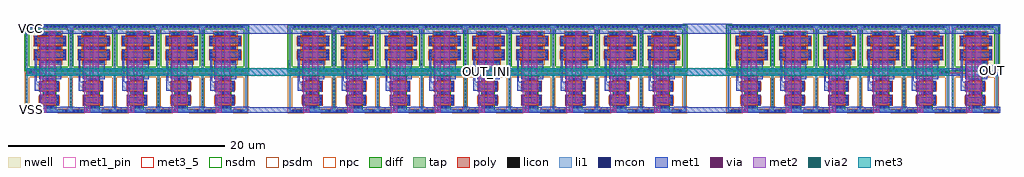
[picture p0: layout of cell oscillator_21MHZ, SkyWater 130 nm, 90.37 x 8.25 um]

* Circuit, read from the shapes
.subckt oscillator_21MHZ OUT OUT_INI VCC VSS
XM1 n1 VCC VSS VSS sky130_fd_pr__nfet_01v8 w=1 l=1
XM2 inverter_1/IN OUT_INI n1 VSS sky130_fd_pr__nfet_01v8 w=1 l=1
XM3 n2 VCC VSS VSS sky130_fd_pr__nfet_01v8 w=1 l=1
XM4 inverter_2/IN inverter_1/IN n2 VSS sky130_fd_pr__nfet_01v8 w=1 l=1
XM5 n3 VCC VSS VSS sky130_fd_pr__nfet_01v8 w=1 l=1
XM6 inverter_3/IN inverter_2/IN n3 VSS sky130_fd_pr__nfet_01v8 w=1 l=1
XM7 n4 VCC VSS VSS sky130_fd_pr__nfet_01v8 w=1 l=1
XM8 inverter_4/IN inverter_3/IN n4 VSS sky130_fd_pr__nfet_01v8 w=1 l=1
XM9 n5 VCC VSS VSS sky130_fd_pr__nfet_01v8 w=1 l=1
XM10 inverter_5/IN inverter_4/IN n5 VSS sky130_fd_pr__nfet_01v8 w=1 l=1
XM11 n6 VCC VSS VSS sky130_fd_pr__nfet_01v8 w=1 l=1
XM12 inverter_6/IN inverter_5/IN n6 VSS sky130_fd_pr__nfet_01v8 w=1 l=1
XM13 n7 VCC VSS VSS sky130_fd_pr__nfet_01v8 w=1 l=1
XM14 inverter_7/IN inverter_6/IN n7 VSS sky130_fd_pr__nfet_01v8 w=1 l=1
XM15 n8 VCC VSS VSS sky130_fd_pr__nfet_01v8 w=1 l=1
XM16 inverter_8/IN inverter_7/IN n8 VSS sky130_fd_pr__nfet_01v8 w=1 l=1
XM17 n9 VCC VSS VSS sky130_fd_pr__nfet_01v8 w=1 l=1
XM18 inverter_9/IN inverter_8/IN n9 VSS sky130_fd_pr__nfet_01v8 w=1 l=1
XM19 n10 VCC VSS VSS sky130_fd_pr__nfet_01v8 w=1 l=1
XM20 inverter_10/IN inverter_9/IN n10 VSS sky130_fd_pr__nfet_01v8 w=1 l=1
XM21 n11 VCC VSS VSS sky130_fd_pr__nfet_01v8 w=1 l=1
XM22 inverter_11/IN inverter_10/IN n11 VSS sky130_fd_pr__nfet_01v8 w=1 l=1
XM23 n12 VCC VSS VSS sky130_fd_pr__nfet_01v8 w=1 l=1
XM24 inverter_12/IN inverter_11/IN n12 VSS sky130_fd_pr__nfet_01v8 w=1 l=1
XM25 n13 VCC VSS VSS sky130_fd_pr__nfet_01v8 w=1 l=1
XM26 inverter_13/IN inverter_12/IN n13 VSS sky130_fd_pr__nfet_01v8 w=1 l=1
XM27 n14 VCC VSS VSS sky130_fd_pr__nfet_01v8 w=1 l=1
XM28 inverter_14/IN inverter_13/IN n14 VSS sky130_fd_pr__nfet_01v8 w=1 l=1
XM29 n15 VCC VSS VSS sky130_fd_pr__nfet_01v8 w=1 l=1
XM30 inverter_15/IN inverter_14/IN n15 VSS sky130_fd_pr__nfet_01v8 w=1 l=1
XM31 n16 VCC VSS VSS sky130_fd_pr__nfet_01v8 w=1 l=1
XM32 inverter_16/IN inverter_15/IN n16 VSS sky130_fd_pr__nfet_01v8 w=1 l=1
XM33 n17 VCC VSS VSS sky130_fd_pr__nfet_01v8 w=1 l=1
XM34 inverter_17/IN inverter_16/IN n17 VSS sky130_fd_pr__nfet_01v8 w=1 l=1
XM35 n18 VCC VSS VSS sky130_fd_pr__nfet_01v8 w=1 l=1
XM36 inverter_18/IN inverter_17/IN n18 VSS sky130_fd_pr__nfet_01v8 w=1 l=1
XM37 n19 VCC VSS VSS sky130_fd_pr__nfet_01v8 w=1 l=1
XM38 OUT_INI inverter_18/IN n19 VSS sky130_fd_pr__nfet_01v8 w=1 l=1
XM39 n20 VCC VSS VSS sky130_fd_pr__nfet_01v8 w=1 l=1
XM40 OUT OUT_INI n20 VSS sky130_fd_pr__nfet_01v8 w=1 l=1
XM41 n21 OUT_INI inverter_1/IN VCC sky130_fd_pr__pfet_01v8 w=2 l=1
XM42 VCC VSS n21 VCC sky130_fd_pr__pfet_01v8 w=2 l=1
XM43 n22 inverter_1/IN inverter_2/IN VCC sky130_fd_pr__pfet_01v8 w=2 l=1
XM44 VCC VSS n22 VCC sky130_fd_pr__pfet_01v8 w=2 l=1
XM45 n23 inverter_2/IN inverter_3/IN VCC sky130_fd_pr__pfet_01v8 w=2 l=1
XM46 VCC VSS n23 VCC sky130_fd_pr__pfet_01v8 w=2 l=1
XM47 n24 inverter_3/IN inverter_4/IN VCC sky130_fd_pr__pfet_01v8 w=2 l=1
XM48 VCC VSS n24 VCC sky130_fd_pr__pfet_01v8 w=2 l=1
XM49 n25 inverter_4/IN inverter_5/IN VCC sky130_fd_pr__pfet_01v8 w=2 l=1
XM50 VCC VSS n25 VCC sky130_fd_pr__pfet_01v8 w=2 l=1
XM51 n26 inverter_5/IN inverter_6/IN VCC sky130_fd_pr__pfet_01v8 w=2 l=1
XM52 VCC VSS n26 VCC sky130_fd_pr__pfet_01v8 w=2 l=1
XM53 n27 inverter_6/IN inverter_7/IN VCC sky130_fd_pr__pfet_01v8 w=2 l=1
XM54 VCC VSS n27 VCC sky130_fd_pr__pfet_01v8 w=2 l=1
XM55 n28 inverter_7/IN inverter_8/IN VCC sky130_fd_pr__pfet_01v8 w=2 l=1
XM56 VCC VSS n28 VCC sky130_fd_pr__pfet_01v8 w=2 l=1
XM57 n29 inverter_8/IN inverter_9/IN VCC sky130_fd_pr__pfet_01v8 w=2 l=1
XM58 VCC VSS n29 VCC sky130_fd_pr__pfet_01v8 w=2 l=1
XM59 n30 inverter_9/IN inverter_10/IN VCC sky130_fd_pr__pfet_01v8 w=2 l=1
XM60 VCC VSS n30 VCC sky130_fd_pr__pfet_01v8 w=2 l=1
XM61 n31 inverter_10/IN inverter_11/IN VCC sky130_fd_pr__pfet_01v8 w=2 l=1
XM62 VCC VSS n31 VCC sky130_fd_pr__pfet_01v8 w=2 l=1
XM63 n32 inverter_11/IN inverter_12/IN VCC sky130_fd_pr__pfet_01v8 w=2 l=1
XM64 VCC VSS n32 VCC sky130_fd_pr__pfet_01v8 w=2 l=1
XM65 n33 inverter_12/IN inverter_13/IN VCC sky130_fd_pr__pfet_01v8 w=2 l=1
XM66 VCC VSS n33 VCC sky130_fd_pr__pfet_01v8 w=2 l=1
XM67 n34 inverter_13/IN inverter_14/IN VCC sky130_fd_pr__pfet_01v8 w=2 l=1
XM68 VCC VSS n34 VCC sky130_fd_pr__pfet_01v8 w=2 l=1
XM69 n35 inverter_14/IN inverter_15/IN VCC sky130_fd_pr__pfet_01v8 w=2 l=1
XM70 VCC VSS n35 VCC sky130_fd_pr__pfet_01v8 w=2 l=1
XM71 n36 inverter_15/IN inverter_16/IN VCC sky130_fd_pr__pfet_01v8 w=2 l=1
XM72 VCC VSS n36 VCC sky130_fd_pr__pfet_01v8 w=2 l=1
XM73 n37 inverter_16/IN inverter_17/IN VCC sky130_fd_pr__pfet_01v8 w=2 l=1
XM74 VCC VSS n37 VCC sky130_fd_pr__pfet_01v8 w=2 l=1
XM75 n38 inverter_17/IN inverter_18/IN VCC sky130_fd_pr__pfet_01v8 w=2 l=1
XM76 VCC VSS n38 VCC sky130_fd_pr__pfet_01v8 w=2 l=1
XM77 n39 inverter_18/IN OUT_INI VCC sky130_fd_pr__pfet_01v8 w=2 l=1
XM78 VCC VSS n39 VCC sky130_fd_pr__pfet_01v8 w=2 l=1
XM79 n40 OUT_INI OUT VCC sky130_fd_pr__pfet_01v8 w=2 l=1
XM80 VCC VSS n40 VCC sky130_fd_pr__pfet_01v8 w=2 l=1
.ends

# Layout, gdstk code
from math import pi, radians
import gdstk
lib = gdstk.Library(unit=1e-6, precision=1e-09)
def R(c, l, rs):  # rectangles x0, y0, x1, y1
    for r in rs: c.add(gdstk.rectangle(r[:2], r[2:], *l))
def A(c, l, x, y, w, h, nx, ny, dx, dy):  # array of equal rectangles
    R(c, l, [(x+i*dx, y+j*dy, x+i*dx+w, y+j*dy+h) for i in range(nx) for j in range(ny)])
nwell = (64, 20)
diff = (65, 20)
tap = (65, 44)
poly = (66, 20)
licon = (66, 44)
li1 = (67, 20)
mcon = (67, 44)
met1_pin = (68, 16)
met1 = (68, 20)
via = (68, 44)
met2 = (69, 20)
via2 = (69, 44)
met3_5 = (70, 5)
met3 = (70, 20)
nsdm = (93, 44)
psdm = (94, 20)
npc = (95, 20)

sky130_fd_pr__pfet_01v8_ = lib.new_cell('sky130_fd_pr__pfet_01v8_BPT9FA')
R(sky130_fd_pr__pfet_01v8_, nwell, [(-0.97,-1.5,0.97,1.5)])
R(sky130_fd_pr__pfet_01v8_, diff, [(-0.79,-1,0.79,1)])
R(sky130_fd_pr__pfet_01v8_, poly, [(-0.5,-1.485,0.5,1.485)])
A(sky130_fd_pr__pfet_01v8_, licon, -0.73, -0.935, 0.17, 0.17, 1, 6, 0, 0.34)
A(sky130_fd_pr__pfet_01v8_, licon, 0.56, -0.935, 0.17, 0.17, 1, 6, 0, 0.34)
R(sky130_fd_pr__pfet_01v8_, licon, [(-0.255,-1.405,-0.085,-1.235), (0.085,-1.405,0.255,-1.235), (-0.255,1.235,-0.085,1.405), (0.085,1.235,0.255,1.405)])
R(sky130_fd_pr__pfet_01v8_, li1, [(-0.5,-1.405,0.5,-1.235), (-0.73,-1.02,-0.56,1.02), (0.56,-1.02,0.73,1.02), (-0.5,1.235,0.5,1.405)])
A(sky130_fd_pr__pfet_01v8_, mcon, -0.73, -0.805, 0.17, 0.17, 1, 5, 0, 0.36)
A(sky130_fd_pr__pfet_01v8_, mcon, 0.56, -0.805, 0.17, 0.17, 1, 5, 0, 0.36)
R(sky130_fd_pr__pfet_01v8_, mcon, [(-0.265,-1.405,-0.095,-1.235), (0.095,-1.405,0.265,-1.235), (-0.265,1.235,-0.095,1.405), (0.095,1.235,0.265,1.405)])
R(sky130_fd_pr__pfet_01v8_, met1, [(-0.48,-1.435,0.48,-1.205), (-0.76,-1,-0.53,1), (0.53,-1,0.76,1), (-0.48,1.205,0.48,1.435)])
R(sky130_fd_pr__pfet_01v8_, psdm, [(-0.915,-1.125,0.915,1.125)])
R(sky130_fd_pr__pfet_01v8_, npc, [(-0.355,-1.505,0.355,-1.135), (-0.355,1.135,0.355,1.505)])

sky130_fd_pr__nfet_01v8_ = lib.new_cell('sky130_fd_pr__nfet_01v8_EEHCG5')
R(sky130_fd_pr__nfet_01v8_, diff, [(-0.79,-0.5,0.79,0.5)])
R(sky130_fd_pr__nfet_01v8_, poly, [(-0.5,-0.94,0.5,0.94)])
A(sky130_fd_pr__nfet_01v8_, licon, -0.73, -0.425, 0.17, 0.17, 1, 3, 0, 0.34)
A(sky130_fd_pr__nfet_01v8_, licon, 0.56, -0.425, 0.17, 0.17, 1, 3, 0, 0.34)
R(sky130_fd_pr__nfet_01v8_, licon, [(-0.255,-0.86,-0.085,-0.69), (0.085,-0.86,0.255,-0.69), (-0.255,0.69,-0.085,0.86), (0.085,0.69,0.255,0.86)])
R(sky130_fd_pr__nfet_01v8_, li1, [(-0.5,-0.86,0.5,-0.69), (-0.73,-0.52,-0.56,0.52), (0.56,-0.52,0.73,0.52), (-0.5,0.69,0.5,0.86)])
R(sky130_fd_pr__nfet_01v8_, mcon, [(-0.265,-0.86,-0.095,-0.69), (0.095,-0.86,0.265,-0.69), (-0.73,-0.265,-0.56,-0.095), (0.56,-0.265,0.73,-0.095), (-0.73,0.095,-0.56,0.265), (0.56,0.095,0.73,0.265), (-0.265,0.69,-0.095,0.86), (0.095,0.69,0.265,0.86)])
R(sky130_fd_pr__nfet_01v8_, met1, [(-0.48,-0.89,0.48,-0.66), (-0.76,-0.5,-0.53,0.5), (0.53,-0.5,0.76,0.5), (-0.48,0.66,0.48,0.89)])
R(sky130_fd_pr__nfet_01v8_, nsdm, [(-0.915,-0.625,0.915,0.625)])
R(sky130_fd_pr__nfet_01v8_, npc, [(-0.355,-0.96,0.355,-0.59), (-0.355,0.59,0.355,0.96)])

inverter = lib.new_cell('inverter')
R(inverter, nwell, [(4.51,12.12,9.14,16.57)])
R(inverter, tap, [(4.69,8.45,5.96,8.62), (7.77,8.45,8.92,8.62), (4.69,8.62,4.86,11.78), (8.75,8.62,8.92,11.78), (4.69,11.78,6.08,11.95), (7.63,11.78,8.92,11.95), (4.69,12.3,8.96,12.47), (4.69,12.47,4.86,16.22), (8.75,12.47,8.96,16.22), (4.69,16.22,8.96,16.39)])
A(inverter, licon, 4.69, 8.96, 0.17, 0.17, 1, 8, 0, 0.34)
A(inverter, licon, 5.04, 12.3, 0.17, 0.17, 11, 1, 0.34, 0)
A(inverter, licon, 4.69, 12.76, 0.17, 0.17, 1, 10, 0, 0.34)
A(inverter, licon, 5.12, 16.22, 0.17, 0.17, 10, 1, 0.34, 0)
R(inverter, licon, [(5.13,8.45,5.3,8.62), (5.47,8.45,5.64,8.62), (8.055,8.45,8.225,8.62), (8.395,8.45,8.565,8.62), (5.265,11.78,5.435,11.95), (8.195,11.78,8.365,11.95)])
R(inverter, li1, [(4.86,8.44,5.97,8.45), (4.69,8.45,8.96,8.62), (4.69,8.62,4.87,11.78), (8.75,8.62,8.96,11.78), (4.69,11.78,8.96,11.95), (4.69,12.3,8.96,12.41), (4.68,12.41,8.96,12.47), (4.68,12.47,4.86,13.21), (8.75,12.47,8.96,16.22), (4.69,13.21,4.86,16.22), (4.69,16.22,8.96,16.4)])
A(inverter, mcon, 4.97, 8.445, 0.17, 0.17, 3, 1, 0.36, 0)
A(inverter, mcon, 5.12, 16.225, 0.17, 0.17, 10, 1, 0.36, 0)
R(inverter, mcon, [(8.315,8.45,8.485,8.62)])
R(inverter, met1_pin, [(4.51,8.34,4.86,8.88), (4.73,11.78,5.58,12.47), (5.9,11.78,8.79,12.47), (4.51,15.67,4.99,16.57)])
R(inverter, met1, [(4.51,8.34,9.14,8.88), (7.88,8.88,9.14,8.89), (8,8.89,9.14,8.9), (5.98,9.26,7.71,9.78), (5.51,10.39,6.16,10.53), (5.51,10.53,7.72,11.05), (5.51,11.05,6.16,11.23), (5.51,11.23,5.68,11.78), (5.9,11.44,7.94,11.78), (4.73,11.78,5.68,12.47), (5.9,11.78,8.97,12.47), (5.51,12.47,5.68,13.46), (5.9,12.47,7.94,13.16), (8.35,12.47,8.97,12.48), (5.51,13.46,8.32,13.98), (5.51,13.98,5.68,14.13), (5.66,14.79,8.32,15.31), (6.89,15.59,7.34,15.67), (4.51,15.67,8.75,16.09), (8.93,15.67,9.14,16.09), (4.51,16.09,9.14,16.57)])
R(inverter, via, [(6.21,8.54,6.36,8.69), (7.035,9.445,7.185,9.595), (6.225,14.975,6.375,15.125), (7.04,15.65,7.19,15.8)])
R(inverter, met2, [(6.01,8.36,6.58,15.35), (6.82,9.2,7.39,15.9)])
R(inverter, nsdm, [(4.565,12.175,9.085,12.595), (4.565,12.595,4.985,16.095), (8.625,12.595,9.085,16.095), (4.565,16.095,9.085,16.515)])
R(inverter, psdm, [(4.565,8.325,6.085,8.745), (7.645,8.325,9.045,8.745), (4.565,8.745,4.985,11.655), (8.625,8.745,9.045,11.655), (4.565,11.655,6.205,12.075), (7.505,11.655,9.045,12.075)])
inverter.add(gdstk.Reference(sky130_fd_pr__pfet_01v8_, (6.92,15), rotation=pi/2))
inverter.add(gdstk.Reference(sky130_fd_pr__pfet_01v8_, (6.92,13.71), rotation=pi/2))
inverter.add(gdstk.Reference(sky130_fd_pr__nfet_01v8_, (6.85,9.52), rotation=pi/2))
inverter.add(gdstk.Reference(sky130_fd_pr__nfet_01v8_, (6.85,10.81), rotation=pi/2))
inverter.add(gdstk.Label('IN', (5.155,12.125), layer=68, texttype=5))
inverter.add(gdstk.Label('OUT', (7.345,12.125), layer=68, texttype=5))
inverter.add(gdstk.Label('VCC', (4.75,16.12), layer=68, texttype=5))
inverter.add(gdstk.Label('VSS', (4.685,8.61), layer=68, texttype=5))

oscillator_21mhz = lib.new_cell('oscillator_21MHZ')
R(oscillator_21mhz, met1_pin, [(0,0,1.32,0.53), (89.16,3.44,90.19,4.41), (0.02,7.34,1.19,8.2)])
R(oscillator_21mhz, met1, [(20.3,-0.005,24.78,0.54), (60.9,-0.005,65.41,0.53), (0,0,1.32,0.53), (20.44,3.43,25,4.12), (60.97,3.44,65.54,4.13), (85.27,3.44,86.77,3.5), (89.16,3.44,90.19,4.41), (0.31,3.5,0.9,4.06), (84.84,3.5,86.77,4.07), (85.27,4.07,86.77,4.13), (20.44,7.32,24.85,8.22), (61.05,7.32,65.56,8.23), (85.21,7.32,90.24,7.93), (0.02,7.34,1.19,8.2)])
R(oscillator_21mhz, via, [(0.37,3.705,0.52,3.855), (0.69,3.705,0.84,3.855), (84.99,3.71,85.14,3.86), (85.31,3.71,85.46,3.86)])
R(oscillator_21mhz, met2, [(0.22,3.44,0.99,4.14), (84.79,3.44,85.66,4.14)])
R(oscillator_21mhz, via2, [(0.505,3.68,0.705,3.88), (84.925,3.685,85.125,3.885), (85.325,3.685,85.525,3.885)])
R(oscillator_21mhz, met3_5, [(0.9,3.44,84.84,4.14)])
R(oscillator_21mhz, met3, [(0.22,3.44,85.66,4.14)])
R(oscillator_21mhz, nsdm, [(85.775,3.83,85.795,8.17)])
R(oscillator_21mhz, psdm, [(85.735,-0.02,85.795,3.73)])
oscillator_21mhz.add(gdstk.Reference(inverter, (-4.51,-8.345)))
oscillator_21mhz.add(gdstk.Reference(inverter, (-0.45,-8.345)))
oscillator_21mhz.add(gdstk.Reference(inverter, (3.61,-8.345)))
oscillator_21mhz.add(gdstk.Reference(inverter, (7.67,-8.345)))
oscillator_21mhz.add(gdstk.Reference(inverter, (11.73,-8.345)))
oscillator_21mhz.add(gdstk.Reference(inverter, (19.85,-8.345)))
oscillator_21mhz.add(gdstk.Reference(inverter, (23.91,-8.345)))
oscillator_21mhz.add(gdstk.Reference(inverter, (27.97,-8.345)))
oscillator_21mhz.add(gdstk.Reference(inverter, (32.03,-8.345)))
oscillator_21mhz.add(gdstk.Reference(inverter, (36.09,-8.345)))
oscillator_21mhz.add(gdstk.Reference(inverter, (40.15,-8.345)))
oscillator_21mhz.add(gdstk.Reference(inverter, (44.21,-8.345)))
oscillator_21mhz.add(gdstk.Reference(inverter, (48.27,-8.345)))
oscillator_21mhz.add(gdstk.Reference(inverter, (52.33,-8.345)))
oscillator_21mhz.add(gdstk.Reference(inverter, (60.45,-8.345)))
oscillator_21mhz.add(gdstk.Reference(inverter, (64.51,-8.345)))
oscillator_21mhz.add(gdstk.Reference(inverter, (68.57,-8.345)))
oscillator_21mhz.add(gdstk.Reference(inverter, (72.63,-8.345)))
oscillator_21mhz.add(gdstk.Reference(inverter, (76.69,-8.345)))
oscillator_21mhz.add(gdstk.Reference(inverter, (81.23,-8.345)))
oscillator_21mhz.add(gdstk.Label('OUT_INI', (42.87,3.79), layer=70, texttype=5))
oscillator_21mhz.add(gdstk.Label('VCC', (0.605,7.77), layer=68, texttype=5))
oscillator_21mhz.add(gdstk.Label('VSS', (0.66,0.265), layer=68, texttype=5))
oscillator_21mhz.add(gdstk.Label('OUT', (89.675,3.925), layer=68, texttype=5))

lib.write_gds('oscillator_21MHZ.gds')
